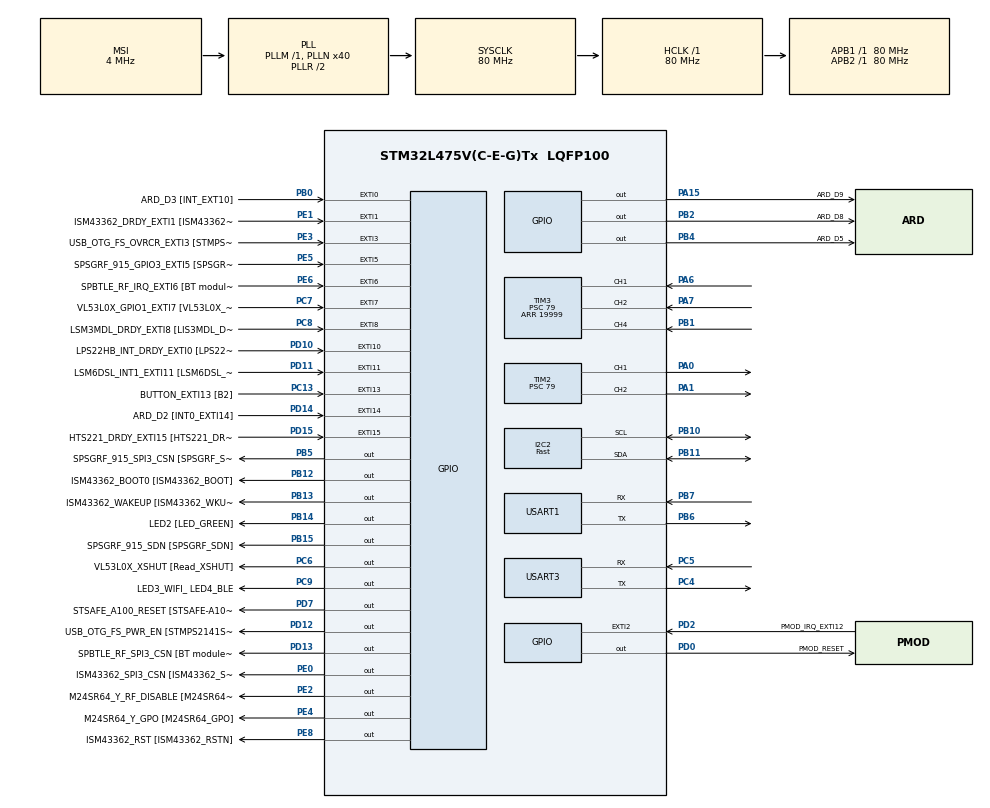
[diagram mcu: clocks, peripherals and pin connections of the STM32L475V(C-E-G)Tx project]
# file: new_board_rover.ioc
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I2C2.I2C_Speed_Mode=I2C_Fast
I2C2.Timing=0x00F12981
Mcu.Family=STM32L4
Mcu.Name=STM32L475V(C-E-G)Tx
Mcu.Package=LQFP100
NVIC.PriorityGroup=NVIC_PRIORITYGROUP_4
NVIC.TIM2_IRQn=true\:0\:0\:false\:false\:true\:true\:true\:true
NVIC.TIM3_IRQn=true\:0\:0\:false\:false\:true\:true\:true\:true
NVIC.USART3_IRQn=true\:0\:0\:false\:false\:true\:true\:true\:true
PA0.Signal=S_TIM2_CH1
PA1.Signal=S_TIM2_CH2
PA13\ (JTMS-SWDIO).GPIO_Label=SYS_JTMS_SWDIO
PA13\ (JTMS-SWDIO).Signal=SYS_JTMS-SWDIO
PA14\ (JTCK-SWCLK).GPIO_Label=SYS_JTCK_SWCLK
PA14\ (JTCK-SWCLK).Signal=SYS_JTCK-SWCLK
PA15\ (JTDI).GPIO_Label=ARD_D9
PA15\ (JTDI).Signal=GPIO_Output
PA2.Signal=USART2_TX
PA3.Signal=USART2_RX
PA4.GPIO_Label=ARD_D7
PA4.Signal=ADCx_IN9
PA6.Signal=S_TIM3_CH1
PA7.Signal=S_TIM3_CH2
PB0.GPIO_Label=ARD_D3 [INT_EXT10]
PB0.Signal=GPXTI0
PB1.Signal=S_TIM3_CH4
PB10.Mode=I2C
PB10.Signal=I2C2_SCL
PB11.Mode=I2C
PB11.Signal=I2C2_SDA
PB12.GPIO_Label=ISM43362_BOOT0 [ISM43362_BOOT]
PB12.Signal=GPIO_Output
PB13.GPIO_Label=ISM43362_WAKEUP [ISM43362_WKUP]
PB13.Signal=GPIO_Output
PB14.GPIO_Label=LED2 [LED_GREEN]
PB14.Signal=GPIO_Output
PB15.GPIO_Label=SPSGRF_915_SDN [SPSGRF_SDN]
PB15.Signal=GPIO_Output
PB2.GPIO_Label=ARD_D8
PB2.Signal=GPIO_Output
PB3\ (JTDO-TRACESWO).GPIO_Label=SYS_JTD0_SWO
PB3\ (JTDO-TRACESWO).Signal=SYS_JTDO-SWO
PB4\ (NJTRST).GPIO_Label=ARD_D5
PB4\ (NJTRST).Signal=GPIO_Output
PB5.GPIO_Label=SPSGRF_915_SPI3_CSN [SPSGRF_SPI_CS]
PB5.PinState=GPIO_PIN_SET
PB5.Signal=GPIO_Output
PB6.Mode=Asynchronous
PB6.Signal=USART1_TX
PB7.Mode=Asynchronous
PB7.Signal=USART1_RX
PB8.GPIO_Label=ARD_D15 [I2C1_SCL]
PB8.Signal=I2C1_SCL
PB9.GPIO_Label=ARD_D14 [I2C1_SDA]
PB9.Signal=I2C1_SDA
PC0.GPIO_Label=ARD_A5 [ADC]
PC0.Signal=ADCx_IN1
PC1.GPIO_Label=ARD_A4 [ADC]
PC1.Signal=ADCx_IN2
PC10.GPIO_Label=INTERNAL_SPI3_SCK [BT module_SPI_SCLK] [ISM43362_SCK]
PC10.Signal=SPI3_SCK
PC11.GPIO_Label=INTERNAL_SPI3_MISO [BT module_SPI_MISO] [ISM43362_MISO]
PC11.Signal=SPI3_MISO
PC12.GPIO_Label=INTERNAL_SPI3_MOSI [BT module_SPI_MOSI] [ISM43362_MOSI]
PC12.Signal=SPI3_MOSI
PC13.GPIO_Label=BUTTON_EXTI13 [B2]
PC13.GPIO_ModeDefaultEXTI=GPIO_MODE_IT_FALLING
PC13.Signal=GPXTI13
PC14-OSC32_IN\ (PC14).Signal=RCC_OSC32_IN
PC15-OSC32_OUT\ (PC15).Signal=RCC_OSC32_OUT
PC2.GPIO_Label=ARD_A3 [ADC]
PC2.Signal=ADCx_IN3
PC3.GPIO_Label=ARD_A2 [ADC]
PC3.Signal=ADCx_IN4
PC4.Mode=Asynchronous
PC4.Signal=USART3_TX
PC5.Mode=Asynchronous
PC5.Signal=USART3_RX
PC6.GPIO_Label=VL53L0X_XSHUT [Read_XSHUT]
PC6.Signal=GPIO_Output
PC7.GPIO_Label=VL53L0X_GPIO1_EXTI7 [VL53L0X_GPIO1]
PC7.Signal=GPXTI7
PC8.GPIO_Label=LSM3MDL_DRDY_EXTI8 [LIS3MDL_DRDY]
PC8.Signal=GPXTI8
PC9.GPIO_Label=LED3_WIFI_ LED4_BLE
PC9.Signal=GPIO_Output
PD0.GPIO_Label=PMOD_RESET
PD0.Signal=GPIO_Output
PD1.GPIO_Label=PMOD_SPI2_SCK
PD1.Signal=SPI2_SCK
PD10.GPIO_Label=LPS22HB_INT_DRDY_EXTI0 [LPS22HB_INT_DRDY] 
PD10.Signal=GPXTI10
PD11.GPIO_Label=LSM6DSL_INT1_EXTI11 [LSM6DSL_INT1]
PD11.Signal=GPXTI11
PD12.GPIO_Label=USB_OTG_FS_PWR_EN [STMPS2141STR_EN]
PD12.Signal=GPIO_Output
PD13.GPIO_Label=SPBTLE_RF_SPI3_CSN [BT module_SPI_CS]
PD13.PinState=GPIO_PIN_SET
PD13.Signal=GPIO_Output
PD14.GPIO_Label=ARD_D2 [INT0_EXTI14]
PD14.Signal=GPXTI14
PD15.GPIO_Label=HTS221_DRDY_EXTI15 [HTS221_DRDY]
PD15.Signal=GPXTI15
PD2.GPIO_Label=PMOD_IRQ_EXTI12
PD2.Signal=GPXTI2
PD7.GPIO_Label=STSAFE_A100_RESET [STSAFE-A100_RESET]
PD7.Signal=GPIO_Output
PE0.GPIO_Label=ISM43362_SPI3_CSN [ISM43362_SSN]
PE0.PinState=GPIO_PIN_SET
PE0.Signal=GPIO_Output
PE1.GPIO_Label=ISM43362_DRDY_EXTI1 [ISM43362_DATARDY]
PE1.Signal=GPXTI1
PE10.GPIO_Label=QUADSPI_CLK [MX25R6435F_SCLK]
PE10.Signal=QUADSPI_CLK
PE11.GPIO_Label=QUADSPI_NCS [MX25R6435F_SCLK]
PE11.Signal=QUADSPI_NCS
PE12.GPIO_Label=OQUADSPI_BK1_IO0 [MX25R6435F_IO0]
PE12.Signal=QUADSPI_BK1_IO0
PE13.GPIO_Label=QUADSPI_BK1_IO1 [MX25R6435F_IO1]
PE13.Signal=QUADSPI_BK1_IO1
PE14.GPIO_Label=QUAD_SPI_BK1_IO2 [MX25R6435F_IO2]
PE14.Signal=QUADSPI_BK1_IO2
PE15.GPIO_Label=QUAD_SPI_BK1_IO3 [MX25R6435F_IO3]
PE15.Signal=QUADSPI_BK1_IO3
PE2.GPIO_Label=M24SR64_Y_RF_DISABLE [M24SR64_RFDIS]
PE2.Signal=GPIO_Output
PE3.GPIO_Label=USB_OTG_FS_OVRCR_EXTI3 [STMPS2141STR_FAULT]
PE3.Signal=GPXTI3
PE4.GPIO_Label=M24SR64_Y_GPO [M24SR64_GPO]
PE4.Signal=GPIO_Output
PE5.GPIO_Label=SPSGRF_915_GPIO3_EXTI5 [SPSGRF_GPIO_3]
PE5.Signal=GPXTI5
PE6.GPIO_Label=SPBTLE_RF_IRQ_EXTI6 [BT module_SPI_IRQ]
PE6.Signal=GPXTI6
PE7.GPIO_Label=DFSDM1_DATIN2 [MP34DT01_DOUT]
PE7.Signal=S_DATAIN2DFSDM1
PE8.GPIO_Label=ISM43362_RST [ISM43362_RSTN]
PE8.Signal=GPIO_Output
PE9.GPIO_Label=DFSDM1_CKOUT [MP34DT01_CLK]
PE9.Signal=S_CKOUTDFSDM1
ProjectManager.HeapSize=0x200
ProjectManager.StackSize=0x400
ProjectManager.TargetToolchain=STM32CubeIDE
RCC.ADCFreq_Value=48000000
RCC.AHBFreq_Value=80000000
RCC.APB1Freq_Value=80000000
RCC.APB1TimFreq_Value=80000000
RCC.APB2Freq_Value=80000000
RCC.APB2TimFreq_Value=80000000
RCC.CortexFreq_Value=80000000
RCC.HCLKFreq_Value=80000000
RCC.HSE_VALUE=8000000
RCC.HSI_VALUE=16000000
RCC.LSE_VALUE=32768
RCC.MSI_VALUE=4000000
RCC.PLLN=40
RCC.PLLSAI1N=24
RCC.SYSCLKFreq_VALUE=80000000
RCC.SYSCLKSource=RCC_SYSCLKSOURCE_PLLCLK
RCC.USBFreq_Value=48000000
RCC.VCOOutputFreq_Value=160000000
SH.ADCx_IN1.0=ADC1_IN1
SH.ADCx_IN2.0=ADC1_IN2
SH.ADCx_IN3.0=ADC1_IN3
SH.ADCx_IN4.0=ADC1_IN4
SH.ADCx_IN9.0=ADC1_IN9
SH.S_CKOUTDFSDM1.0=DFSDM1_CKOUT
SH.S_DATAIN2DFSDM1.0=DFSDM1_DATIN2
SH.S_TIM2_CH1.0=TIM2_CH1,PWM Generation1 CH1
SH.S_TIM2_CH2.0=TIM2_CH2,PWM Generation2 CH2
SH.S_TIM3_CH1.0=TIM3_CH1,Input_Capture1_from_TI1
SH.S_TIM3_CH2.0=TIM3_CH2,Input_Capture2_from_TI2
SH.S_TIM3_CH4.0=TIM3_CH4,Input_Capture4_from_TI4
STMicroelectronics.X-CUBE-MEMS1.11.3.0.BoardOoPartJjAccGyrJjLSM6DSL=I2C
STMicroelectronics.X-CUBE-MEMS1.11.3.0.BoardOoPartJjMagJjLIS3MDL=I2C
TIM2.Channel-PWM\ Generation1\ CH1=TIM_CHANNEL_1
TIM2.Channel-PWM\ Generation2\ CH2=TIM_CHANNEL_2
TIM2.Period=19999
TIM2.Prescaler=79
TIM3.Channel-Input_Capture1_from_TI1=TIM_CHANNEL_1
TIM3.Channel-Input_Capture2_from_TI2=TIM_CHANNEL_2
TIM3.Channel-Input_Capture4_from_TI4=TIM_CHANNEL_4
TIM3.Period=19999
TIM3.Prescaler=79
USART1.VirtualMode-Asynchronous=VM_ASYNC
USART3.VirtualMode-Asynchronous=VM_ASYNC
VP_STMicroelectronics.X-CUBE-MEMS1_VS_BoardOoPartJjAccGyr_5.6.0_11.3.0.Mode=BoardOoPartJjAccGyr
VP_STMicroelectronics.X-CUBE-MEMS1_VS_BoardOoPartJjMag_5.5.0_11.3.0.Mode=BoardOoPartJjMag
board=B-L475E-IOT01A2

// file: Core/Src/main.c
/* USER CODE BEGIN Header */
/**
 ******************************************************************************
 * @file           : main.c
 * @brief          : Main program body
 ******************************************************************************
 * @attention
 *
 * Copyright (c) 2025 STMicroelectronics.
 * All rights reserved.
 *
 * This software is licensed under terms that can be found in the LICENSE file
 * in the root directory of this software component.
 * If no LICENSE file comes with this software, it is provided AS-IS.
 *
 ******************************************************************************
 */
/* USER CODE END Header */
#include "main.h"

/* USER CODE BEGIN Includes */

#include <string.h>
#include <stdlib.h>
#include <stdio.h>
#include <stdbool.h>

#include "lsm6dsl_reg.h"

/* USER CODE END Includes */

I2C_HandleTypeDef hi2c2;

TIM_HandleTypeDef htim2;
TIM_HandleTypeDef htim3;

UART_HandleTypeDef huart1;
UART_HandleTypeDef huart3;

/* USER CODE BEGIN PV */

uint8_t rx_buffer_size = 64;
uint8_t rx_buffer[64];
volatile uint8_t rx_index = 0;
uint8_t message_received = 0;

// ============= Manual Mode Variables =============
volatile uint32_t IC1_Value1 = 0;
volatile uint32_t IC1_Value2 = 0;
volatile uint8_t IC1_Captured = 0;
volatile float lin = 0.0f;

volatile uint32_t IC2_Value1 = 0;
volatile uint32_t IC2_Value2 = 0;
volatile uint8_t IC2_Captured = 0;
volatile float ang = 0.0f;

volatile uint32_t IC3_Value1 = 0;
volatile uint32_t IC3_Value2 = 0;
volatile uint8_t IC3_Captured = 0;
volatile uint32_t pulse_width_SWITCH;
volatile uint8_t switch_state = 0; // 0 = RC / 1 = Automatic // 0 by default !!

// ============= Sensors Variables =============

extern I2C_HandleTypeDef hi2c2;

static stmdev_ctx_t imu_ctx;
float accel[3], gyro[3];
char sensors_buffer[100];
uint32_t last_send = 0;

/* USER CODE END PV */

void SystemClock_Config(void);
static void MX_GPIO_Init(void);
static void MX_TIM2_Init(void);
static void MX_TIM3_Init(void);
static void MX_USART3_UART_Init(void);
static void MX_USART1_UART_Init(void);
static void MX_I2C2_Init(void);
/* USER CODE BEGIN PFP */

void HAL_TIM_IC_CaptureCallback(TIM_HandleTypeDef *htim);
void Update_Motors(int16_t motorA, int16_t motorB);
void processCompleteMessage(char *msg);
bool CheckSwitchMode(float pulse_width_SWITCH);
void IMU_Init(void);
bool IMU_Read(float *accel_data, float *gyro_data);

/* USER CODE END PFP */

int main(void)
{

  /* MCU Configuration--------------------------------------------------------*/

  /* Reset of all peripherals, Initializes the Flash interface and the Systick. */
  HAL_Init();

  /* Configure the system clock */
  SystemClock_Config();

  /* Initialize all configured peripherals */
  MX_GPIO_Init();
  MX_TIM2_Init();
  MX_TIM3_Init();
  MX_USART3_UART_Init();
  MX_USART1_UART_Init();
  MX_I2C2_Init();
  /* USER CODE BEGIN 2 */

	// ============= Capteurs =============

	IMU_Init();

	// ============= RC receiver =============
	HAL_TIM_IC_Start_IT(&htim3, TIM_CHANNEL_1); // LIN
	HAL_TIM_IC_Start_IT(&htim3, TIM_CHANNEL_2); // ANG
	HAL_TIM_IC_Start_IT(&htim3, TIM_CHANNEL_4); // Switch (TIM1_CH1)

	// ============= PWM Creation =============
	HAL_TIM_PWM_Start(&htim2, TIM_CHANNEL_1); // Moteur Droit (TIM3_CH2)
	HAL_TIM_PWM_Start(&htim2, TIM_CHANNEL_2); // Moteur Gauche (TIM3_CH3)

	// PWM neutral initialisation
	__HAL_TIM_SET_COMPARE(&htim2, TIM_CHANNEL_1, 1500); // 1.5ms
	__HAL_TIM_SET_COMPARE(&htim2, TIM_CHANNEL_2, 1500); // 1.5ms

	setvbuf(stdout, NULL, _IONBF, 0);
	setvbuf(stderr, NULL, _IONBF, 0);

	printf("Démarrage de l'application...\n\r");
	printf("Control Mode :: Manual\n\r");

  /* USER CODE END 2 */

  /* Infinite loop */
  /* USER CODE BEGIN WHILE */

	while (true) {
		/* USER CODE BEGIN WHILE */

		uint32_t current_time = HAL_GetTick();

		if (current_time - last_send > 100) {
			if (IMU_Read(accel, gyro)) {
				last_send = current_time;

				int len = snprintf(sensors_buffer, sizeof(sensors_buffer),
						"IMU,%lu,%.3f,%.3f,%.3f,%.3f,%.3f,%.3f\r\n",
						current_time, accel[0], accel[1], accel[2], gyro[0],
						gyro[1], gyro[2]);

				HAL_UART_Transmit(&huart3, (uint8_t*) sensors_buffer, len,
						HAL_MAX_DELAY);
			}
		}

		if (CheckSwitchMode(pulse_width_SWITCH)) {
			if (switch_state == 0) {
				printf("Control Mode :: Manual\n\r");
			} else {
				printf("Control Mode :: Automatic\n\r");
			}
		}
		if (switch_state == 0) { // Manual Mode
			int16_t pwm_left = 1500 + (int) ((lin - ang) * 500);
			int16_t pwm_right = 1500 + (int) ((lin + ang) * 500);
			Update_Motors(pwm_left, pwm_right);
		}
    /* USER CODE END WHILE */

	}
}

void SystemClock_Config(void)
{
  RCC_OscInitTypeDef RCC_OscInitStruct = {0};
  RCC_ClkInitTypeDef RCC_ClkInitStruct = {0};

  /** Configure the main internal regulator output voltage
  */
  if (HAL_PWREx_ControlVoltageScaling(PWR_REGULATOR_VOLTAGE_SCALE1) != HAL_OK)
  {
    Error_Handler();
  }

  /** Initializes the RCC Oscillators according to the specified parameters
  * in the RCC_OscInitTypeDef structure.
  */
  RCC_OscInitStruct.OscillatorType = RCC_OSCILLATORTYPE_MSI;
  RCC_OscInitStruct.MSIState = RCC_MSI_ON;
  RCC_OscInitStruct.MSICalibrationValue = 0;
  RCC_OscInitStruct.MSIClockRange = RCC_MSIRANGE_6;
  RCC_OscInitStruct.PLL.PLLState = RCC_PLL_ON;
  RCC_OscInitStruct.PLL.PLLSource = RCC_PLLSOURCE_MSI;
  RCC_OscInitStruct.PLL.PLLM = 1;
  RCC_OscInitStruct.PLL.PLLN = 40;
  RCC_OscInitStruct.PLL.PLLP = RCC_PLLP_DIV7;
  RCC_OscInitStruct.PLL.PLLQ = RCC_PLLQ_DIV2;
  RCC_OscInitStruct.PLL.PLLR = RCC_PLLR_DIV2;
  if (HAL_RCC_OscConfig(&RCC_OscInitStruct) != HAL_OK)
  {
    Error_Handler();
  }

  /** Initializes the CPU, AHB and APB buses clocks
  */
  RCC_ClkInitStruct.ClockType = RCC_CLOCKTYPE_HCLK|RCC_CLOCKTYPE_SYSCLK
                              |RCC_CLOCKTYPE_PCLK1|RCC_CLOCKTYPE_PCLK2;
  RCC_ClkInitStruct.SYSCLKSource = RCC_SYSCLKSOURCE_PLLCLK;
  RCC_ClkInitStruct.AHBCLKDivider = RCC_SYSCLK_DIV1;
  RCC_ClkInitStruct.APB1CLKDivider = RCC_HCLK_DIV1;
  RCC_ClkInitStruct.APB2CLKDivider = RCC_HCLK_DIV1;

  if (HAL_RCC_ClockConfig(&RCC_ClkInitStruct, FLASH_LATENCY_4) != HAL_OK)
  {
    Error_Handler();
  }
}

static void MX_I2C2_Init(void)
{

  hi2c2.Instance = I2C2;
  hi2c2.Init.Timing = 0x00F12981;
  hi2c2.Init.OwnAddress1 = 0;
  hi2c2.Init.AddressingMode = I2C_ADDRESSINGMODE_7BIT;
  hi2c2.Init.DualAddressMode = I2C_DUALADDRESS_DISABLE;
  hi2c2.Init.OwnAddress2 = 0;
  hi2c2.Init.OwnAddress2Masks = I2C_OA2_NOMASK;
  hi2c2.Init.GeneralCallMode = I2C_GENERALCALL_DISABLE;
  hi2c2.Init.NoStretchMode = I2C_NOSTRETCH_DISABLE;
  if (HAL_I2C_Init(&hi2c2) != HAL_OK)
  {
    Error_Handler();
  }

  /** Configure Analogue filter
  */
  if (HAL_I2CEx_ConfigAnalogFilter(&hi2c2, I2C_ANALOGFILTER_ENABLE) != HAL_OK)
  {
    Error_Handler();
  }

  /** Configure Digital filter
  */
  if (HAL_I2CEx_ConfigDigitalFilter(&hi2c2, 0) != HAL_OK)
  {
    Error_Handler();
  }

}

static void MX_TIM2_Init(void)
{

  TIM_MasterConfigTypeDef sMasterConfig = {0};
  TIM_OC_InitTypeDef sConfigOC = {0};

  htim2.Instance = TIM2;
  htim2.Init.Prescaler = 79;
  htim2.Init.CounterMode = TIM_COUNTERMODE_UP;
  htim2.Init.Period = 19999;
  htim2.Init.ClockDivision = TIM_CLOCKDIVISION_DIV1;
  htim2.Init.AutoReloadPreload = TIM_AUTORELOAD_PRELOAD_DISABLE;
  if (HAL_TIM_PWM_Init(&htim2) != HAL_OK)
  {
    Error_Handler();
  }
  sMasterConfig.MasterOutputTrigger = TIM_TRGO_RESET;
  sMasterConfig.MasterSlaveMode = TIM_MASTERSLAVEMODE_DISABLE;
  if (HAL_TIMEx_MasterConfigSynchronization(&htim2, &sMasterConfig) != HAL_OK)
  {
    Error_Handler();
  }
  sConfigOC.OCMode = TIM_OCMODE_PWM1;
  sConfigOC.Pulse = 0;
  sConfigOC.OCPolarity = TIM_OCPOLARITY_HIGH;
  sConfigOC.OCFastMode = TIM_OCFAST_DISABLE;
  if (HAL_TIM_PWM_ConfigChannel(&htim2, &sConfigOC, TIM_CHANNEL_1) != HAL_OK)
  {
    Error_Handler();
  }
  if (HAL_TIM_PWM_ConfigChannel(&htim2, &sConfigOC, TIM_CHANNEL_2) != HAL_OK)
  {
    Error_Handler();
  }
  HAL_TIM_MspPostInit(&htim2);

}

static void MX_TIM3_Init(void)
{

  TIM_MasterConfigTypeDef sMasterConfig = {0};
  TIM_IC_InitTypeDef sConfigIC = {0};

  htim3.Instance = TIM3;
  htim3.Init.Prescaler = 79;
  htim3.Init.CounterMode = TIM_COUNTERMODE_UP;
  htim3.Init.Period = 19999;
  htim3.Init.ClockDivision = TIM_CLOCKDIVISION_DIV1;
  htim3.Init.AutoReloadPreload = TIM_AUTORELOAD_PRELOAD_DISABLE;
  if (HAL_TIM_IC_Init(&htim3) != HAL_OK)
  {
    Error_Handler();
  }
  sMasterConfig.MasterOutputTrigger = TIM_TRGO_RESET;
  sMasterConfig.MasterSlaveMode = TIM_MASTERSLAVEMODE_DISABLE;
  if (HAL_TIMEx_MasterConfigSynchronization(&htim3, &sMasterConfig) != HAL_OK)
  {
    Error_Handler();
  }
  sConfigIC.ICPolarity = TIM_INPUTCHANNELPOLARITY_RISING;
  sConfigIC.ICSelection = TIM_ICSELECTION_DIRECTTI;
  sConfigIC.ICPrescaler = TIM_ICPSC_DIV1;
  sConfigIC.ICFilter = 0;
  if (HAL_TIM_IC_ConfigChannel(&htim3, &sConfigIC, TIM_CHANNEL_1) != HAL_OK)
  {
    Error_Handler();
  }
  if (HAL_TIM_IC_ConfigChannel(&htim3, &sConfigIC, TIM_CHANNEL_2) != HAL_OK)
  {
    Error_Handler();
  }
  if (HAL_TIM_IC_ConfigChannel(&htim3, &sConfigIC, TIM_CHANNEL_4) != HAL_OK)
  {
    Error_Handler();
  }

}

static void MX_USART1_UART_Init(void)
{

  huart1.Instance = USART1;
  huart1.Init.BaudRate = 115200;
  huart1.Init.WordLength = UART_WORDLENGTH_8B;
  huart1.Init.StopBits = UART_STOPBITS_1;
  huart1.Init.Parity = UART_PARITY_NONE;
  huart1.Init.Mode = UART_MODE_TX_RX;
  huart1.Init.HwFlowCtl = UART_HWCONTROL_NONE;
  huart1.Init.OverSampling = UART_OVERSAMPLING_16;
  huart1.Init.OneBitSampling = UART_ONE_BIT_SAMPLE_DISABLE;
  huart1.AdvancedInit.AdvFeatureInit = UART_ADVFEATURE_NO_INIT;
  if (HAL_UART_Init(&huart1) != HAL_OK)
  {
    Error_Handler();
  }

}

static void MX_USART3_UART_Init(void)
{

  huart3.Instance = USART3;
  huart3.Init.BaudRate = 115200;
  huart3.Init.WordLength = UART_WORDLENGTH_8B;
  huart3.Init.StopBits = UART_STOPBITS_1;
  huart3.Init.Parity = UART_PARITY_NONE;
  huart3.Init.Mode = UART_MODE_TX_RX;
  huart3.Init.HwFlowCtl = UART_HWCONTROL_NONE;
  huart3.Init.OverSampling = UART_OVERSAMPLING_16;
  huart3.Init.OneBitSampling = UART_ONE_BIT_SAMPLE_DISABLE;
  huart3.AdvancedInit.AdvFeatureInit = UART_ADVFEATURE_NO_INIT;
  if (HAL_UART_Init(&huart3) != HAL_OK)
  {
    Error_Handler();
  }

}

static void MX_GPIO_Init(void)
{
  GPIO_InitTypeDef GPIO_InitStruct = {0};

  /* GPIO Ports Clock Enable */
  __HAL_RCC_GPIOE_CLK_ENABLE();
  __HAL_RCC_GPIOC_CLK_ENABLE();
  __HAL_RCC_GPIOA_CLK_ENABLE();
  __HAL_RCC_GPIOB_CLK_ENABLE();
  __HAL_RCC_GPIOD_CLK_ENABLE();

  /*Configure GPIO pin Output Level */
  HAL_GPIO_WritePin(GPIOE, M24SR64_Y_RF_DISABLE_Pin|M24SR64_Y_GPO_Pin|ISM43362_RST_Pin, GPIO_PIN_RESET);

  /*Configure GPIO pin Output Level */
  HAL_GPIO_WritePin(GPIOB, ARD_D8_Pin|ISM43362_BOOT0_Pin|ISM43362_WAKEUP_Pin|LED2_Pin
                          |SPSGRF_915_SDN_Pin|ARD_D5_Pin, GPIO_PIN_RESET);

  /*Configure GPIO pin Output Level */
  HAL_GPIO_WritePin(GPIOD, USB_OTG_FS_PWR_EN_Pin|PMOD_RESET_Pin|STSAFE_A100_RESET_Pin, GPIO_PIN_RESET);

  /*Configure GPIO pin Output Level */
  HAL_GPIO_WritePin(SPBTLE_RF_SPI3_CSN_GPIO_Port, SPBTLE_RF_SPI3_CSN_Pin, GPIO_PIN_SET);

  /*Configure GPIO pin Output Level */
  HAL_GPIO_WritePin(GPIOC, VL53L0X_XSHUT_Pin|LED3_WIFI__LED4_BLE_Pin, GPIO_PIN_RESET);

  /*Configure GPIO pin Output Level */
  HAL_GPIO_WritePin(ARD_D9_GPIO_Port, ARD_D9_Pin, GPIO_PIN_RESET);

  /*Configure GPIO pin Output Level */
  HAL_GPIO_WritePin(SPSGRF_915_SPI3_CSN_GPIO_Port, SPSGRF_915_SPI3_CSN_Pin, GPIO_PIN_SET);

  /*Configure GPIO pin Output Level */
  HAL_GPIO_WritePin(ISM43362_SPI3_CSN_GPIO_Port, ISM43362_SPI3_CSN_Pin, GPIO_PIN_SET);

  /*Configure GPIO pins : M24SR64_Y_RF_DISABLE_Pin M24SR64_Y_GPO_Pin ISM43362_RST_Pin ISM43362_SPI3_CSN_Pin */
  GPIO_InitStruct.Pin = M24SR64_Y_RF_DISABLE_Pin|M24SR64_Y_GPO_Pin|ISM43362_RST_Pin|ISM43362_SPI3_CSN_Pin;
  GPIO_InitStruct.Mode = GPIO_MODE_OUTPUT_PP;
  GPIO_InitStruct.Pull = GPIO_NOPULL;
  GPIO_InitStruct.Speed = GPIO_SPEED_FREQ_LOW;
  HAL_GPIO_Init(GPIOE, &GPIO_InitStruct);

  /*Configure GPIO pins : USB_OTG_FS_OVRCR_EXTI3_Pin SPSGRF_915_GPIO3_EXTI5_Pin SPBTLE_RF_IRQ_EXTI6_Pin ISM43362_DRDY_EXTI1_Pin */
  GPIO_InitStruct.Pin = USB_OTG_FS_OVRCR_EXTI3_Pin|SPSGRF_915_GPIO3_EXTI5_Pin|SPBTLE_RF_IRQ_EXTI6_Pin|ISM43362_DRDY_EXTI1_Pin;
  GPIO_InitStruct.Mode = GPIO_MODE_IT_RISING;
  GPIO_InitStruct.Pull = GPIO_NOPULL;
  HAL_GPIO_Init(GPIOE, &GPIO_InitStruct);

  /*Configure GPIO pin : BUTTON_EXTI13_Pin */
  GPIO_InitStruct.Pin = BUTTON_EXTI13_Pin;
  GPIO_InitStruct.Mode = GPIO_MODE_IT_FALLING;
  GPIO_InitStruct.Pull = GPIO_NOPULL;
  HAL_GPIO_Init(BUTTON_EXTI13_GPIO_Port, &GPIO_InitStruct);

  /*Configure GPIO pins : ARD_A5_Pin ARD_A4_Pin ARD_A3_Pin ARD_A2_Pin */
  GPIO_InitStruct.Pin = ARD_A5_Pin|ARD_A4_Pin|ARD_A3_Pin|ARD_A2_Pin;
  GPIO_InitStruct.Mode = GPIO_MODE_ANALOG_ADC_CONTROL;
  GPIO_InitStruct.Pull = GPIO_NOPULL;
  HAL_GPIO_Init(GPIOC, &GPIO_InitStruct);

  /*Configure GPIO pins : PA2 PA3 */
  GPIO_InitStruct.Pin = GPIO_PIN_2|GPIO_PIN_3;
  GPIO_InitStruct.Mode = GPIO_MODE_AF_PP;
  GPIO_InitStruct.Pull = GPIO_NOPULL;
  GPIO_InitStruct.Speed = GPIO_SPEED_FREQ_VERY_HIGH;
  GPIO_InitStruct.Alternate = GPIO_AF7_USART2;
  HAL_GPIO_Init(GPIOA, &GPIO_InitStruct);

  /*Configure GPIO pin : ARD_D7_Pin */
  GPIO_InitStruct.Pin = ARD_D7_Pin;
  GPIO_InitStruct.Mode = GPIO_MODE_ANALOG_ADC_CONTROL;
  GPIO_InitStruct.Pull = GPIO_NOPULL;
  HAL_GPIO_Init(ARD_D7_GPIO_Port, &GPIO_InitStruct);

  /*Configure GPIO pin : ARD_D3_Pin */
  GPIO_InitStruct.Pin = ARD_D3_Pin;
  GPIO_InitStruct.Mode = GPIO_MODE_IT_RISING;
  GPIO_InitStruct.Pull = GPIO_NOPULL;
  HAL_GPIO_Init(ARD_D3_GPIO_Port, &GPIO_InitStruct);

  /*Configure GPIO pins : ARD_D8_Pin ISM43362_BOOT0_Pin ISM43362_WAKEUP_Pin LED2_Pin
                           SPSGRF_915_SDN_Pin ARD_D5_Pin SPSGRF_915_SPI3_CSN_Pin */
  GPIO_InitStruct.Pin = ARD_D8_Pin|ISM43362_BOOT0_Pin|ISM43362_WAKEUP_Pin|LED2_Pin
                          |SPSGRF_915_SDN_Pin|ARD_D5_Pin|SPSGRF_915_SPI3_CSN_Pin;
  GPIO_InitStruct.Mode = GPIO_MODE_OUTPUT_PP;
  GPIO_InitStruct.Pull = GPIO_NOPULL;
  GPIO_InitStruct.Speed = GPIO_SPEED_FREQ_LOW;
  HAL_GPIO_Init(GPIOB, &GPIO_InitStruct);

  /*Configure GPIO pins : DFSDM1_DATIN2_Pin DFSDM1_CKOUT_Pin */
  GPIO_InitStruct.Pin = DFSDM1_DATIN2_Pin|DFSDM1_CKOUT_Pin;
  GPIO_InitStruct.Mode = GPIO_MODE_AF_PP;
  GPIO_InitStruct.Pull = GPIO_NOPULL;
  GPIO_InitStruct.Speed = GPIO_SPEED_FREQ_LOW;
  GPIO_InitStruct.Alternate = GPIO_AF6_DFSDM1;
  HAL_GPIO_Init(GPIOE, &GPIO_InitStruct);

  /*Configure GPIO pins : QUADSPI_CLK_Pin QUADSPI_NCS_Pin OQUADSPI_BK1_IO0_Pin QUADSPI_BK1_IO1_Pin
                           QUAD_SPI_BK1_IO2_Pin QUAD_SPI_BK1_IO3_Pin */
  GPIO_InitStruct.Pin = QUADSPI_CLK_Pin|QUADSPI_NCS_Pin|OQUADSPI_BK1_IO0_Pin|QUADSPI_BK1_IO1_Pin
                          |QUAD_SPI_BK1_IO2_Pin|QUAD_SPI_BK1_IO3_Pin;
  GPIO_InitStruct.Mode = GPIO_MODE_AF_PP;
  GPIO_InitStruct.Pull = GPIO_NOPULL;
  GPIO_InitStruct.Speed = GPIO_SPEED_FREQ_VERY_HIGH;
  GPIO_InitStruct.Alternate = GPIO_AF10_QUADSPI;
  HAL_GPIO_Init(GPIOE, &GPIO_InitStruct);

  /*Configure GPIO pins : LPS22HB_INT_DRDY_EXTI0_Pin LSM6DSL_INT1_EXTI11_Pin ARD_D2_Pin HTS221_DRDY_EXTI15_Pin
                           PMOD_IRQ_EXTI12_Pin */
  GPIO_InitStruct.Pin = LPS22HB_INT_DRDY_EXTI0_Pin|LSM6DSL_INT1_EXTI11_Pin|ARD_D2_Pin|HTS221_DRDY_EXTI15_Pin
                          |PMOD_IRQ_EXTI12_Pin;
  GPIO_InitStruct.Mode = GPIO_MODE_IT_RISING;
  GPIO_InitStruct.Pull = GPIO_NOPULL;
  HAL_GPIO_Init(GPIOD, &GPIO_InitStruct);

  /*Configure GPIO pins : USB_OTG_FS_PWR_EN_Pin SPBTLE_RF_SPI3_CSN_Pin PMOD_RESET_Pin STSAFE_A100_RESET_Pin */
  GPIO_InitStruct.Pin = USB_OTG_FS_PWR_EN_Pin|SPBTLE_RF_SPI3_CSN_Pin|PMOD_RESET_Pin|STSAFE_A100_RESET_Pin;
  GPIO_InitStruct.Mode = GPIO_MODE_OUTPUT_PP;
  GPIO_InitStruct.Pull = GPIO_NOPULL;
  GPIO_InitStruct.Speed = GPIO_SPEED_FREQ_LOW;
  HAL_GPIO_Init(GPIOD, &GPIO_InitStruct);

  /*Configure GPIO pins : VL53L0X_XSHUT_Pin LED3_WIFI__LED4_BLE_Pin */
  GPIO_InitStruct.Pin = VL53L0X_XSHUT_Pin|LED3_WIFI__LED4_BLE_Pin;
  GPIO_InitStruct.Mode = GPIO_MODE_OUTPUT_PP;
  GPIO_InitStruct.Pull = GPIO_NOPULL;
  GPIO_InitStruct.Speed = GPIO_SPEED_FREQ_LOW;
  HAL_GPIO_Init(GPIOC, &GPIO_InitStruct);

  /*Configure GPIO pins : VL53L0X_GPIO1_EXTI7_Pin LSM3MDL_DRDY_EXTI8_Pin */
  GPIO_InitStruct.Pin = VL53L0X_GPIO1_EXTI7_Pin|LSM3MDL_DRDY_EXTI8_Pin;
  GPIO_InitStruct.Mode = GPIO_MODE_IT_RISING;
  GPIO_InitStruct.Pull = GPIO_NOPULL;
  HAL_GPIO_Init(GPIOC, &GPIO_InitStruct);

  /*Configure GPIO pin : ARD_D9_Pin */
  GPIO_InitStruct.Pin = ARD_D9_Pin;
  GPIO_InitStruct.Mode = GPIO_MODE_OUTPUT_PP;
  GPIO_InitStruct.Pull = GPIO_NOPULL;
  GPIO_InitStruct.Speed = GPIO_SPEED_FREQ_LOW;
  HAL_GPIO_Init(ARD_D9_GPIO_Port, &GPIO_InitStruct);

  /*Configure GPIO pins : INTERNAL_SPI3_SCK_Pin INTERNAL_SPI3_MISO_Pin INTERNAL_SPI3_MOSI_Pin */
  GPIO_InitStruct.Pin = INTERNAL_SPI3_SCK_Pin|INTERNAL_SPI3_MISO_Pin|INTERNAL_SPI3_MOSI_Pin;
  GPIO_InitStruct.Mode = GPIO_MODE_AF_PP;
  GPIO_InitStruct.Pull = GPIO_NOPULL;
  GPIO_InitStruct.Speed = GPIO_SPEED_FREQ_VERY_HIGH;
  GPIO_InitStruct.Alternate = GPIO_AF6_SPI3;
  HAL_GPIO_Init(GPIOC, &GPIO_InitStruct);

  /*Configure GPIO pin : PMOD_SPI2_SCK_Pin */
  GPIO_InitStruct.Pin = PMOD_SPI2_SCK_Pin;
  GPIO_InitStruct.Mode = GPIO_MODE_AF_PP;
  GPIO_InitStruct.Pull = GPIO_NOPULL;
  GPIO_InitStruct.Speed = GPIO_SPEED_FREQ_VERY_HIGH;
  GPIO_InitStruct.Alternate = GPIO_AF5_SPI2;
  HAL_GPIO_Init(PMOD_SPI2_SCK_GPIO_Port, &GPIO_InitStruct);

  /*Configure GPIO pins : ARD_D15_Pin ARD_D14_Pin */
  GPIO_InitStruct.Pin = ARD_D15_Pin|ARD_D14_Pin;
  GPIO_InitStruct.Mode = GPIO_MODE_AF_OD;
  GPIO_InitStruct.Pull = GPIO_NOPULL;
  GPIO_InitStruct.Speed = GPIO_SPEED_FREQ_VERY_HIGH;
  GPIO_InitStruct.Alternate = GPIO_AF4_I2C1;
  HAL_GPIO_Init(GPIOB, &GPIO_InitStruct);

}

/* USER CODE BEGIN 4 */

// ============= PWM Interruption CallBack =============
void HAL_TIM_IC_CaptureCallback(TIM_HandleTypeDef *htim) {
	uint32_t diff;

	// TIM2 - RC control (Linear and Angular)
	if (htim->Instance == TIM3) {
		switch (htim->Channel) {
		case HAL_TIM_ACTIVE_CHANNEL_1: // LIN
			if (IC1_Captured == 0) {
				IC1_Value1 = HAL_TIM_ReadCapturedValue(htim, TIM_CHANNEL_1);
				IC1_Captured = 1;
				__HAL_TIM_SET_CAPTUREPOLARITY(htim, TIM_CHANNEL_1,
						TIM_INPUTCHANNELPOLARITY_FALLING);
			} else if (IC1_Captured == 1) {
				IC1_Value2 = HAL_TIM_ReadCapturedValue(htim, TIM_CHANNEL_1);
				if (IC1_Value2 >= IC1_Value1)
					diff = IC1_Value2 - IC1_Value1;
				else
					diff = (htim->Instance->ARR - IC1_Value1) + IC1_Value2 + 1;

				float pulse_width_us = (float) diff;
				if (pulse_width_us < 1000)
					pulse_width_us = 1000;
				if (pulse_width_us > 2000)
					pulse_width_us = 2000;
				lin = (pulse_width_us - 1500.0f) / 500.0f;

				IC1_Captured = 0;
				__HAL_TIM_SET_CAPTUREPOLARITY(htim, TIM_CHANNEL_1,
						TIM_INPUTCHANNELPOLARITY_RISING);
			}
			break;

		case HAL_TIM_ACTIVE_CHANNEL_2: // ANG
			if (IC2_Captured == 0) {
				IC2_Value1 = HAL_TIM_ReadCapturedValue(htim, TIM_CHANNEL_2);
				IC2_Captured = 1;
				__HAL_TIM_SET_CAPTUREPOLARITY(htim, TIM_CHANNEL_2,
						TIM_INPUTCHANNELPOLARITY_FALLING);
			} else if (IC2_Captured == 1) {
				IC2_Value2 = HAL_TIM_ReadCapturedValue(htim, TIM_CHANNEL_2);
				if (IC2_Value2 >= IC2_Value1)
					diff = IC2_Value2 - IC2_Value1;
				else
					diff = (htim->Instance->ARR - IC2_Value1) + IC2_Value2 + 1;

				float pulse_width_us = (float) diff;
				if (pulse_width_us < 1000)
					pulse_width_us = 1000;
				if (pulse_width_us > 2000)
					pulse_width_us = 2000;
				ang = (pulse_width_us - 1500.0f) / 500.0f;

				IC2_Captured = 0;
				__HAL_TIM_SET_CAPTUREPOLARITY(htim, TIM_CHANNEL_2,
						TIM_INPUTCHANNELPOLARITY_RISING);
			}
			break;
		case HAL_TIM_ACTIVE_CHANNEL_4: // SWITCH
			if (IC3_Captured == 0) {
				IC3_Value1 = HAL_TIM_ReadCapturedValue(htim, TIM_CHANNEL_4);
				IC3_Captured = 1;
				__HAL_TIM_SET_CAPTUREPOLARITY(htim, TIM_CHANNEL_4,
						TIM_INPUTCHANNELPOLARITY_FALLING);
			} else if (IC3_Captured == 1) {
				IC3_Value2 = HAL_TIM_ReadCapturedValue(htim, TIM_CHANNEL_4);
				if (IC3_Value2 >= IC3_Value1)
					pulse_width_SWITCH = IC3_Value2 - IC3_Value1;
				else
					pulse_width_SWITCH = (htim->Instance->ARR - IC3_Value1)
							+ IC3_Value2 + 1;

				// printf("[SWITCH] Pulse width: %lu us\n\r", pulse_width_SWITCH);
				IC3_Captured = 0;
				__HAL_TIM_SET_CAPTUREPOLARITY(htim, TIM_CHANNEL_4,
						TIM_INPUTCHANNELPOLARITY_RISING);
			}
			break;
		default:
			break;
		}
	}
}

// Motor Control Function
void Update_Motors(int16_t pwm_left, int16_t pwm_right) {
	// Clamping
	pwm_left = (pwm_left < 1000) ? 1000 : (pwm_left > 2000) ? 2000 : pwm_left;
	pwm_right = (pwm_right < 1000) ? 1000 :
				(pwm_right > 2000) ? 2000 : pwm_right;

	// Motor Command
	__HAL_TIM_SET_COMPARE(&htim2, TIM_CHANNEL_1, pwm_left); // Left  (TIM3_CH3)
	__HAL_TIM_SET_COMPARE(&htim2, TIM_CHANNEL_2, pwm_right); // Right (TIM3_CH2)
}

// ============= UART =============
void HAL_UART_RxCpltCallback(UART_HandleTypeDef *huart) {
	static char buffer[128];
	static uint8_t idx = 0;

	if (rx_buffer[0] == '\n' || idx >= sizeof(buffer) - 1) {
		buffer[idx] = '\0';
		processCompleteMessage(buffer);
		idx = 0;
	} else if (rx_buffer[0] >= 32 && rx_buffer[0] <= 126) {
		buffer[idx++] = rx_buffer[0];
	}

	// CallBack
	HAL_UART_Receive_IT(huart, &rx_buffer[0], 1);
}

void processCompleteMessage(char *msg) {
	float lin_val, ang_val;
	if (sscanf(msg, "L:%f A:%f", &lin_val, &ang_val) == 2) {
		printf("Message valide: %s\n\r", msg);

		// PWM calculation
		int16_t pwm_left = 1500 + (int) ((lin_val - ang_val) * 500);
		int16_t pwm_right = 1500 + (int) ((lin_val + ang_val) * 500);

		Update_Motors(pwm_left, pwm_right);
	}
}

bool CheckSwitchMode(float pulse_width_SWITCH) {
	static uint32_t last_switch_time = 0;
	if (HAL_GetTick() - last_switch_time < 200)
		return false; // Anti-bounce 200ms

	if ((switch_state == 1) && (pulse_width_SWITCH < 1800)) {
		// Return to Manual mode
		HAL_UART_AbortReceive(&huart3);
		HAL_NVIC_DisableIRQ(USART3_IRQn);

		// Reactivation of RC captures
		HAL_TIM_IC_Start_IT(&htim3, TIM_CHANNEL_1);
		HAL_TIM_IC_Start_IT(&htim3, TIM_CHANNEL_2);

		switch_state = 0;
		last_switch_time = HAL_GetTick();
		return true;
	} else if ((switch_state == 0) && (pulse_width_SWITCH > 1800)) {
		// Switching to Automatic mode
		HAL_TIM_IC_Stop_IT(&htim3, TIM_CHANNEL_1);
		HAL_TIM_IC_Stop_IT(&htim3, TIM_CHANNEL_2);

		HAL_NVIC_EnableIRQ(USART3_IRQn);
		HAL_UART_Receive_IT(&huart3, &rx_buffer[0], 1);

		switch_state = 1;
		last_switch_time = HAL_GetTick();
		return true;
	}
	return false;
}

int __io_putchar(int ch) {
	HAL_UART_Transmit(&huart1, (uint8_t*) &ch, 1, HAL_MAX_DELAY);
	return ch;
}

void HAL_UART_ErrorCallback(UART_HandleTypeDef *huart) {
	printf("Erreur UART! Réinitialisation...\n");
	HAL_UART_AbortReceive(huart);
	HAL_UART_Receive_IT(huart, &rx_buffer[0], 1);
}

// ============= Sensor Management =============

#define LSM6DSL_I2C_ADDRESS (0x6A << 1) // 0xD4 in 8 bits address for HAL!

static int32_t platform_write(void *handle, uint8_t Reg, uint8_t *Bufp,
		uint16_t Len) {
	HAL_StatusTypeDef status = HAL_I2C_Mem_Write((I2C_HandleTypeDef*) handle,
			(LSM6DSL_I2C_ADDRESS), Reg, I2C_MEMADD_SIZE_8BIT, Bufp, Len, 1000);
	return (status == HAL_OK) ? 0 : -1;
}

static int32_t platform_read(void *handle, uint8_t Reg, uint8_t *Bufp,
		uint16_t Len) {
	HAL_StatusTypeDef status = HAL_I2C_Mem_Read((I2C_HandleTypeDef*) handle,
			(LSM6DSL_I2C_ADDRESS), Reg, I2C_MEMADD_SIZE_8BIT, Bufp, Len, 1000);
	return (status == HAL_OK) ? 0 : -1;
}

void IMU_Init(void) {

	imu_ctx.handle = (void*) &hi2c2;
	imu_ctx.read_reg = platform_read;
	imu_ctx.write_reg = platform_write;

	uint8_t whoamI;
	lsm6dsl_device_id_get(&imu_ctx, &whoamI);
	if (whoamI != LSM6DSL_ID) {
		printf("Erreur IMU non détectée\n");
	}

	lsm6dsl_reset_set(&imu_ctx, PROPERTY_ENABLE);
	HAL_Delay(100);
	uint8_t rst;
	do {
		lsm6dsl_reset_get(&imu_ctx, &rst);
	} while (rst);

	lsm6dsl_block_data_update_set(&imu_ctx, PROPERTY_ENABLE);
	lsm6dsl_xl_full_scale_set(&imu_ctx, LSM6DSL_2g);
	lsm6dsl_gy_full_scale_set(&imu_ctx, LSM6DSL_2000dps);
	lsm6dsl_xl_data_rate_set(&imu_ctx, LSM6DSL_XL_ODR_52Hz);
	lsm6dsl_gy_data_rate_set(&imu_ctx, LSM6DSL_GY_ODR_52Hz);
}

bool IMU_Read(float *accel_data, float *gyro_data) {

    int16_t raw_accel[3], raw_gyro[3];

    // Accelerometer reading
    int32_t ret_accel = lsm6dsl_acceleration_raw_get(&imu_ctx, raw_accel);
    if (ret_accel != 0) {
        printf("Erreur lecture accel: %ld\n\r", ret_accel);
        return false;
    }

    // Gyroscope reading
    int32_t ret_gyro = lsm6dsl_angular_rate_raw_get(&imu_ctx, raw_gyro);
    if (ret_gyro != 0) {
        printf("Erreur lecture gyro: %ld\n\r", ret_gyro);
        return false;
    }

    // Conversion to g (acc) and dps (gyro)
    accel_data[0] = raw_accel[0] * 0.061f / 1000.0f;
    accel_data[1] = raw_accel[1] * 0.061f / 1000.0f;
    accel_data[2] = raw_accel[2] * 0.061f / 1000.0f;

    gyro_data[0] = raw_gyro[0] * 70.0f / 1000.0f;
    gyro_data[1] = raw_gyro[1] * 70.0f / 1000.0f;
    gyro_data[2] = raw_gyro[2] * 70.0f / 1000.0f;

    return true;
}

/* USER CODE END 4 */

void Error_Handler(void)
{
	__disable_irq();
	while (1) {
	}
}
